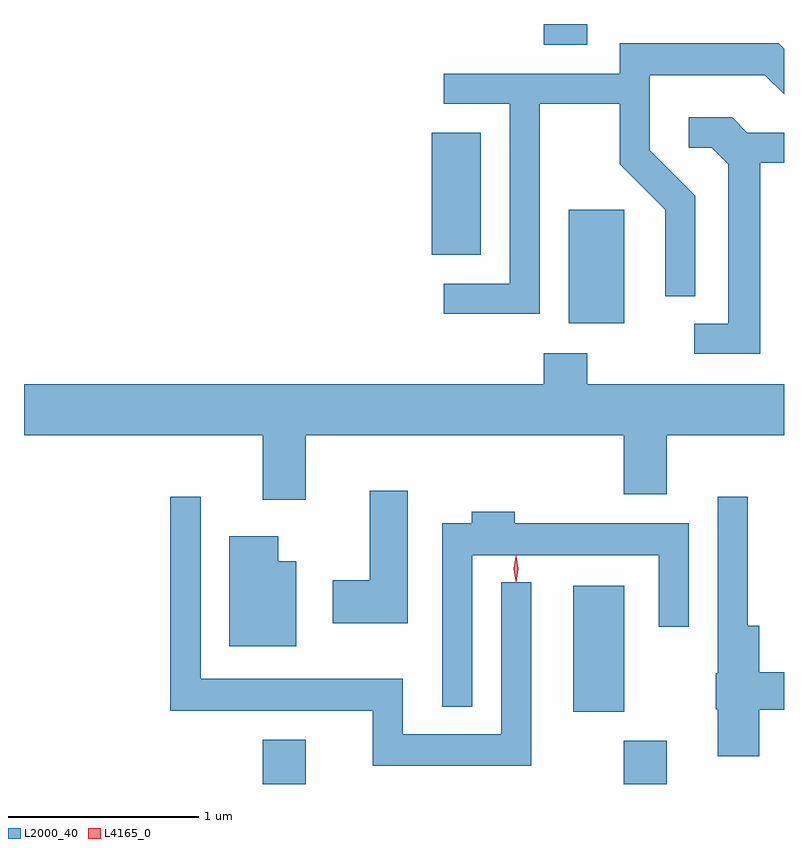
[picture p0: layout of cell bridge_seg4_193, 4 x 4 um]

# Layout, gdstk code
import gdstk
lib = gdstk.Library(unit=1e-6, precision=1e-09)
def R(c, l, rs):  # rectangles x0, y0, x1, y1
    for r in rs: c.add(gdstk.rectangle(r[:2], r[2:], *l))
def P(c, l, *ps):  # polygons
    for p in ps: c.add(gdstk.Polygon(p, *l))
L2000_40 = (2000, 40)
L4165_0 = (4165, 0)

bridge_seg4_193 = lib.new_cell('bridge_seg4_193')
R(bridge_seg4_193, L2000_40, [(988.031,1315.101,988.259,1315.334), (989.931,1315.101,990.159,1315.329), (989.666,1315.481,989.934,1316.144), (989.641,1317.526,989.934,1318.124), (988.921,1317.886,989.179,1318.529), (989.511,1318.991,989.739,1319.101)])
P(bridge_seg4_193, L2000_40, [(989.489,1318.681),(989.911,1318.681),(989.911,1318.364),(990.151,1318.124),(990.151,1317.668),(990.309,1317.668),(990.309,1318.197),(990.069,1318.437),(990.069,1318.831),(990.674,1318.831),(990.775,1318.73),(990.775,1318.971),(990.747,1318.999),(989.911,1318.999),(989.911,1318.839),(988.983,1318.839),(988.983,1318.681),(989.331,1318.681),(989.331,1317.734),(988.983,1317.734),(988.983,1317.576),(989.489,1317.576)],
  [(990.649,1318.371),(990.775,1318.371),(990.775,1318.529),(990.582,1318.529),(990.502,1318.609),(990.273,1318.609),(990.273,1318.451),(990.394,1318.451),(990.481,1318.364),(990.481,1317.524),(990.303,1317.524),(990.303,1317.366),(990.649,1317.366)],
  [(988.259,1316.936),(989.931,1316.936),(989.931,1316.626),(990.159,1316.626),(990.159,1316.936),(990.775,1316.936),(990.775,1317.204),(989.739,1317.204),(989.739,1317.369),(989.511,1317.369),(989.511,1317.204),(986.775,1317.204),(986.775,1316.936),(988.031,1316.936),(988.031,1316.596),(988.259,1316.596)],
  [(988.794,1316.644),(988.596,1316.644),(988.596,1316.174),(988.401,1316.174),(988.401,1315.946),(988.794,1315.946)],
  [(989.444,1316.163),(989.286,1316.163),(989.286,1315.364),(988.769,1315.364),(988.769,1315.654),(987.704,1315.654),(987.704,1316.613),(987.546,1316.613),(987.546,1315.486),(988.611,1315.486),(988.611,1315.196),(989.444,1315.196)],
  [(990.644,1315.491),(990.775,1315.491),(990.775,1315.689),(990.644,1315.689),(990.644,1315.934),(990.584,1315.934),(990.584,1316.613),(990.426,1316.613),(990.426,1315.685),(990.416,1315.685),(990.416,1315.495),(990.426,1315.495),(990.426,1315.246),(990.644,1315.246)],
  [(989.134,1316.306),(990.116,1316.306),(990.116,1315.928),(990.274,1315.928),(990.274,1316.474),(989.359,1316.474),(989.359,1316.534),(989.131,1316.534),(989.131,1316.474),(988.976,1316.474),(988.976,1315.508),(989.134,1315.508)],
  [(988.209,1316.274),(988.114,1316.274),(988.114,1316.404),(987.856,1316.404),(987.856,1315.826),(988.209,1315.826)])
P(bridge_seg4_193, L4165_0, [(989.362,1316.167),(989.353,1316.234),(989.362,1316.3),(989.363,1316.301),(989.363,1316.3),(989.373,1316.234),(989.363,1316.167),(989.363,1316.167)],
  [(989.365,1316.164),(989.365,1316.164),(989.355,1316.234),(989.365,1316.303),(989.365,1316.303),(989.366,1316.303),(989.375,1316.234),(989.366,1316.164)])

lib.write_gds('bridge_seg4_193.gds')
